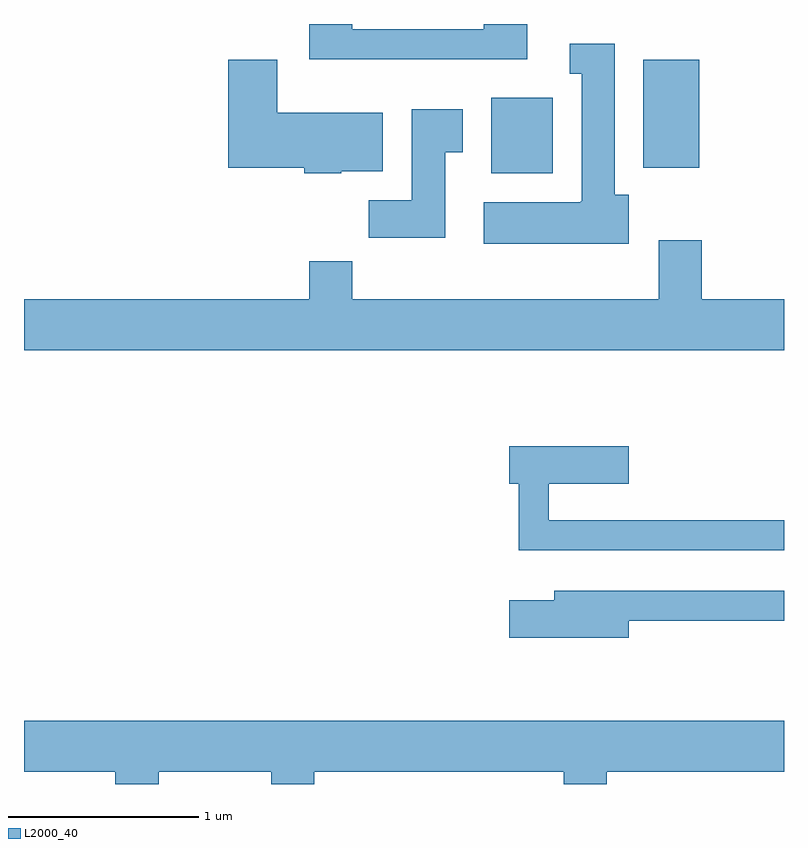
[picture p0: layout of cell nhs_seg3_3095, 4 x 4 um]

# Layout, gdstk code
import gdstk
lib = gdstk.Library(unit=1e-6, precision=1e-09)
def R(c, l, rs):  # rectangles x0, y0, x1, y1
    for r in rs: c.add(gdstk.rectangle(r[:2], r[2:], *l))
def P(c, l, *ps):  # polygons
    for p in ps: c.add(gdstk.Polygon(p, *l))
L2000_40 = (2000, 40)

nhs_seg3_3095 = lib.new_cell('nhs_seg3_3095')
R(nhs_seg3_3095, L2000_40, [(278.071,1189.106,278.394,1189.504), (278.871,1189.136,279.164,1189.704)])
P(nhs_seg3_3095, L2000_40, [(278.259,1189.892),(278.031,1189.892),(278.031,1189.864),(277.339,1189.864),(277.339,1189.892),(277.111,1189.892),(277.111,1189.706),(278.259,1189.706)],
  [(278.794,1188.994),(278.719,1188.994),(278.719,1189.789),(278.483,1189.789),(278.483,1189.631),(278.546,1189.631),(278.546,1188.96),(278.54,1188.96),(278.54,1188.954),(278.031,1188.954),(278.031,1188.736),(278.794,1188.736)],
  [(277.28,1189.116),(277.499,1189.116),(277.499,1189.424),(276.944,1189.424),(276.944,1189.704),(276.686,1189.704),(276.686,1189.136),(277.086,1189.136),(277.086,1189.106),(277.28,1189.106)],
  [(277.829,1189.216),(277.919,1189.216),(277.919,1189.444),(277.651,1189.444),(277.651,1188.964),(277.426,1188.964),(277.426,1188.766),(277.829,1188.766)],
  [(279.611,1188.444),(279.179,1188.444),(279.179,1188.754),(278.951,1188.754),(278.951,1188.444),(277.339,1188.444),(277.339,1188.644),(277.111,1188.644),(277.111,1188.444),(275.611,1188.444),(275.611,1188.176),(279.611,1188.176)],
  [(279.611,1187.279),(278.374,1187.279),(278.374,1187.471),(278.794,1187.471),(278.794,1187.669),(278.166,1187.669),(278.166,1187.471),(278.216,1187.471),(278.216,1187.121),(279.611,1187.121)],
  [(278.794,1186.751),(279.611,1186.751),(279.611,1186.909),(278.401,1186.909),(278.401,1186.859),(278.166,1186.859),(278.166,1186.661),(278.794,1186.661)],
  [(276.319,1185.956),(276.911,1185.956),(276.911,1185.892),(277.139,1185.892),(277.139,1185.956),(278.451,1185.956),(278.451,1185.892),(278.679,1185.892),(278.679,1185.956),(279.611,1185.956),(279.611,1186.224),(275.611,1186.224),(275.611,1185.956),(276.091,1185.956),(276.091,1185.892),(276.319,1185.892)])

lib.write_gds('nhs_seg3_3095.gds')
